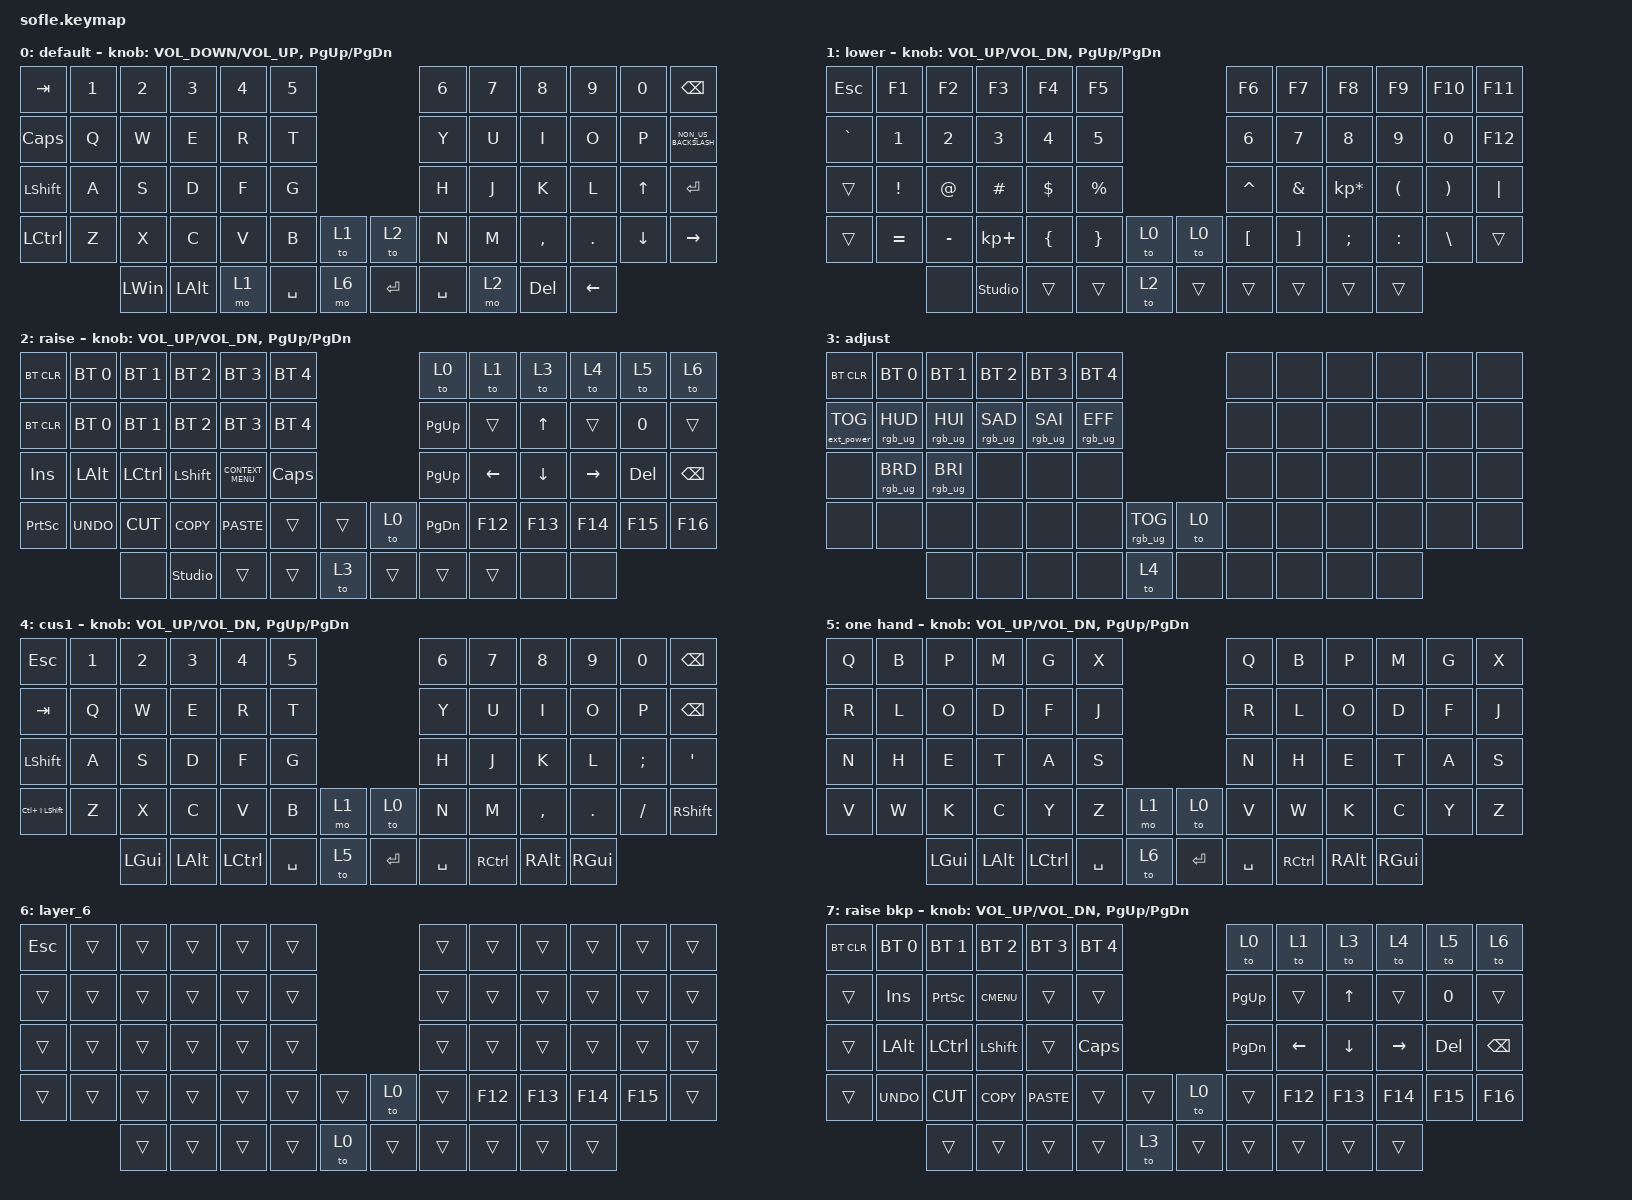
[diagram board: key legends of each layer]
/*
 * Copyright (c) 2020 The ZMK Contributors
 *
 * SPDX-License-Identifier: MIT
 */

#include <behaviors.dtsi>
#include <dt-bindings/zmk/bt.h>
#include <dt-bindings/zmk/ext_power.h>
#include <dt-bindings/zmk/keys.h>
#include <dt-bindings/zmk/rgb.h>

#define BASE 0
#define LOWER 1
#define RAISE 2
#define ADJUST 3

/ {
    // Activate ADJUST layer by pressing raise and lower

    conditional_layers {
        compatible = "zmk,conditional-layers";

        adjust_layer {
            if-layers = <1 2>;
            then-layer = <3>;
        };
    };

    keymap {
        compatible = "zmk,keymap";

        default_layer {
            label = "default";

            // ------------------------------------------------------------------------------------------------------------
            // |   `   |  1  |  2  |  3   |  4   |  5   |                   |  6   |  7    |  8    |  9   |   0   |       |
            // |  ESC  |  Q  |  W  |  E   |  R   |  T   |                   |  Y   |  U    |  I    |  O   |   P   | BKSPC |
            // |  TAB  |  A  |  S  |  D   |  F   |  G   |                   |  H   |  J    |  K    |  L   |   ;   |   '   |
            // | SHIFT |  Z  |  X  |  C   |  V   |  B   |  MUTE  |  |       |  N   |  M    |  ,    |  .   |   /   | SHIFT |
            //               | GUI | ALT  | CTRL | LOWER|  ENTER |  | SPACE | RAISE| CTRL  | ALT   | GUI  |

            bindings = <
&kp TAB         &kp N1  &kp N2        &kp N3    &kp N4  &kp N5                          &kp N6     &kp N7  &kp N8     &kp N9    &kp N0    &kp BSPC
&kp CLCK        &kp Q   &kp W         &kp E     &kp R   &kp T                           &kp Y      &kp U   &kp I      &kp O     &kp P     &kp NON_US_BACKSLASH
&kp LEFT_SHIFT  &kp A   &kp S         &kp D     &kp F   &kp G                           &kp H      &kp J   &kp K      &kp L     &kp UP    &kp ENTER
&kp LCTRL       &kp Z   &kp X         &kp C     &kp V   &kp B      &to 1    &to 2       &kp N      &kp M   &kp COMMA  &kp DOT   &kp DOWN  &kp RIGHT
                        &kp LEFT_WIN  &kp LALT  &mo 1   &kp SPACE  &mo 6    &kp RETURN  &kp SPACE  &mo 2   &kp DEL    &kp LEFT
            >;

            sensor-bindings =
                <&inc_dec_kp K_VOLUME_DOWN K_VOLUME_UP>,
                <&inc_dec_kp PG_UP PG_DN>;
        };

        lower_layer {
            label = "lower";

            // TODO: Some binds are waiting for shifted keycode support.
            // ------------------------------------------------------------------------------------------------------------
            // |       |  F1 |  F2 |  F3  |  F4  |  F5  |                   |  F6  |  F7   |  F8   |  F9  |  F10  |  F11  |
            // |   `   |  1  |  2  |  3   |  4   |  5   |                   |  6   |  7    |  8    |  9   |   0   |  F12  |
            // |       |  !  |  @  |  #   |  $   |  %   |                   |  ^   |  &    |  *    |  (   |   )   |   |   |
            // |       |  =  |  -  |  +   |  {   |  }   |        |  |       |  [   |  ]    |  ;    |  :   |   \   |       |
            //               |     |      |      |      |        |  |       |      |       |       |      |

            bindings = <
&kp ESC    &kp F1     &kp F2     &kp F3          &kp F4    &kp F5                      &kp F6     &kp F7    &kp F8           &kp F9     &kp F10   &kp F11
&kp GRAVE  &kp N1     &kp N2     &kp N3          &kp N4    &kp N5                      &kp N6     &kp N7    &kp N8           &kp N9     &kp N0    &kp F12
&trans     &kp EXCL   &kp AT     &kp HASH        &kp DLLR  &kp PRCNT                   &kp CARET  &kp AMPS  &kp KP_MULTIPLY  &kp LPAR   &kp RPAR  &kp PIPE
&trans     &kp EQUAL  &kp MINUS  &kp KP_PLUS     &kp LBRC  &kp RBRC   &to 0    &to 0   &kp LBKT   &kp RBKT  &kp SEMI         &kp COLON  &kp BSLH  &trans
                      &none      &studio_unlock  &trans    &trans     &to 2    &trans  &trans     &trans    &trans           &trans
            >;

            sensor-bindings = <&inc_dec_kp C_VOL_UP C_VOL_DN &inc_dec_kp PG_UP PG_DN>;
        };

        raise_layer {
            label = "raise";

            // ------------------------------------------------------------------------------------------------------------
            // | BTCLR | BT1  | BT2  |  BT3  |  BT4  |  BT5 |                |      |      |       |      |       |       |
            // |       | INS  | PSCR | GUI   |       |      |                | PGUP |      |   ^   |      |       |       |
            // |       | ALT  | CTRL | SHIFT |       | CAPS |                | PGDN |   <- |   v   |  ->  |  DEL  | BKSPC |
            // |       | UNDO | CUT  | COPY  | PASTE |      |      |  |      |      |      |       |      |       |       |
            //                |      |       |       |      |      |  |      |      |      |       |      |

            bindings = <
&bt BT_CLR       &bt BT_SEL 0  &bt BT_SEL 1  &bt BT_SEL 2    &bt BT_SEL 3        &bt BT_SEL 4                    &to 0      &to 1     &to 3     &to 4      &to 5    &to 6
&bt BT_CLR       &bt BT_SEL 0  &bt BT_SEL 1  &bt BT_SEL 2    &bt BT_SEL 3        &bt BT_SEL 4                    &kp PG_UP  &trans    &kp UP    &trans     &kp N0   &trans
&kp INS          &kp LALT      &kp LCTRL     &kp LSHFT       &kp K_CONTEXT_MENU  &kp CLCK                        &kp PG_UP  &kp LEFT  &kp DOWN  &kp RIGHT  &kp DEL  &kp BSPC
&kp PRINTSCREEN  &kp K_UNDO    &kp K_CUT     &kp K_COPY      &kp K_PASTE         &trans        &trans    &to 0   &kp PG_DN  &kp F12   &kp F13   &kp F14    &kp F15  &kp F16
                               &none         &studio_unlock  &trans              &trans        &to 3     &trans  &trans     &trans    &none     &none
            >;

            sensor-bindings = <&inc_dec_kp C_VOL_UP C_VOL_DN &inc_dec_kp PG_UP PG_DN>;
        };

        adjust_layer {
            // ----------------------------------------------------------------------------------------------------------------------------
            // | BTCLR  |  BT1    |  BT2    |   BT3   |   BT4   |   BT5   |                  |      |      |       |      |       |       |
            // | EXTPWR | RGB_HUD | RGB_HUI | RGB_SAD | RGB_SAI | RGB_EFF |                  |      |      |       |      |       |       |
            // |        | RGB_BRD | RGB_BRI |         |         |         |                  |      |      |       |      |       |       |
            // |        |         |         |         |         |         | RGB_TOG | |      |      |      |       |      |       |       |
            //                    |         |         |         |         |         | |      |      |      |       |      |

            label = "adjust";
            bindings = <
&bt BT_CLR         &bt BT_SEL 0     &bt BT_SEL 1     &bt BT_SEL 2     &bt BT_SEL 3     &bt BT_SEL 4                               &none  &none  &none  &none  &none  &none
&ext_power EP_TOG  &rgb_ug RGB_HUD  &rgb_ug RGB_HUI  &rgb_ug RGB_SAD  &rgb_ug RGB_SAI  &rgb_ug RGB_EFF                            &none  &none  &none  &none  &none  &none
&none              &rgb_ug RGB_BRD  &rgb_ug RGB_BRI  &none            &none            &none                                      &none  &none  &none  &none  &none  &none
&none              &none            &none            &none            &none            &none            &rgb_ug RGB_TOG    &to 0  &none  &none  &none  &none  &none  &none
                                    &none            &none            &none            &none            &to 4              &none  &none  &none  &none  &none
            >;
        };

        layer_4 {
            label = "cus1";
            bindings = <
&kp ESC            &kp N1  &kp N2    &kp N3    &kp N4     &kp N5                          &kp N6     &kp N7     &kp N8     &kp N9    &kp N0    &kp BACKSPACE
&kp TAB            &kp Q   &kp W     &kp E     &kp R      &kp T                           &kp Y      &kp U      &kp I      &kp O     &kp P     &kp BSPC
&kp LEFT_SHIFT     &kp A   &kp S     &kp D     &kp F      &kp G                           &kp H      &kp J      &kp K      &kp L     &kp SEMI  &kp SQT
&kp LC(LS(LSHFT))  &kp Z   &kp X     &kp C     &kp V      &kp B      &mo 1    &to 0       &kp N      &kp M      &kp COMMA  &kp DOT   &kp FSLH  &kp RSHFT
                           &kp LGUI  &kp LALT  &kp LCTRL  &kp SPACE  &to 5    &kp RETURN  &kp SPACE  &kp RCTRL  &kp RALT   &kp RGUI
            >;

            sensor-bindings =
                <&inc_dec_kp C_VOL_UP C_VOL_DN>,
                <&inc_dec_kp PG_UP PG_DN>;
        };

        layer_5 {
            label = "one hand";
            bindings = <
&kp Q  &kp B  &kp P     &kp M     &kp G      &kp X                           &kp Q      &kp B      &kp P     &kp M     &kp G  &kp X
&kp R  &kp L  &kp O     &kp D     &kp F      &kp J                           &kp R      &kp L      &kp O     &kp D     &kp F  &kp J
&kp N  &kp H  &kp E     &kp T     &kp A      &kp S                           &kp N      &kp H      &kp E     &kp T     &kp A  &kp S
&kp V  &kp W  &kp K     &kp C     &kp Y      &kp Z      &mo 1    &to 0       &kp V      &kp W      &kp K     &kp C     &kp Y  &kp Z
              &kp LGUI  &kp LALT  &kp LCTRL  &kp SPACE  &to 6    &kp RETURN  &kp SPACE  &kp RCTRL  &kp RALT  &kp RGUI
            >;

            sensor-bindings =
                <&inc_dec_kp C_VOL_UP C_VOL_DN>,
                <&inc_dec_kp PG_UP PG_DN>;
        };

        layer_6 {
            bindings = <
&kp ESCAPE  &trans  &trans  &trans  &trans  &trans                    &trans  &trans   &trans   &trans   &trans   &trans
&trans      &trans  &trans  &trans  &trans  &trans                    &trans  &trans   &trans   &trans   &trans   &trans
&trans      &trans  &trans  &trans  &trans  &trans                    &trans  &trans   &trans   &trans   &trans   &trans
&trans      &trans  &trans  &trans  &trans  &trans  &trans    &to 0   &trans  &kp F12  &kp F13  &kp F14  &kp F15  &trans
                    &trans  &trans  &trans  &trans  &to 0     &trans  &trans  &trans   &trans   &trans
            >;
        };

        layer_7 {
            label = "raise bkp";
            bindings = <
&bt BT_CLR  &bt BT_SEL 0  &bt BT_SEL 1  &bt BT_SEL 2  &bt BT_SEL 3  &bt BT_SEL 4                    &to 0      &to 1     &to 3     &to 4      &to 5    &to 6
&trans      &kp INS       &kp PSCRN     &kp K_CMENU   &trans        &trans                          &kp PG_UP  &trans    &kp UP    &trans     &kp N0   &trans
&trans      &kp LALT      &kp LCTRL     &kp LSHFT     &trans        &kp CLCK                        &kp PG_DN  &kp LEFT  &kp DOWN  &kp RIGHT  &kp DEL  &kp BSPC
&trans      &kp K_UNDO    &kp K_CUT     &kp K_COPY    &kp K_PASTE   &trans        &trans    &to 0   &trans     &kp F12   &kp F13   &kp F14    &kp F15  &kp F16
                          &trans        &trans        &trans        &trans        &to 3     &trans  &trans     &trans    &trans    &trans
            >;

            sensor-bindings =
                <&inc_dec_kp C_VOL_UP C_VOL_DN>,
                <&inc_dec_kp PG_UP PG_DN>;
        };
    };
};
